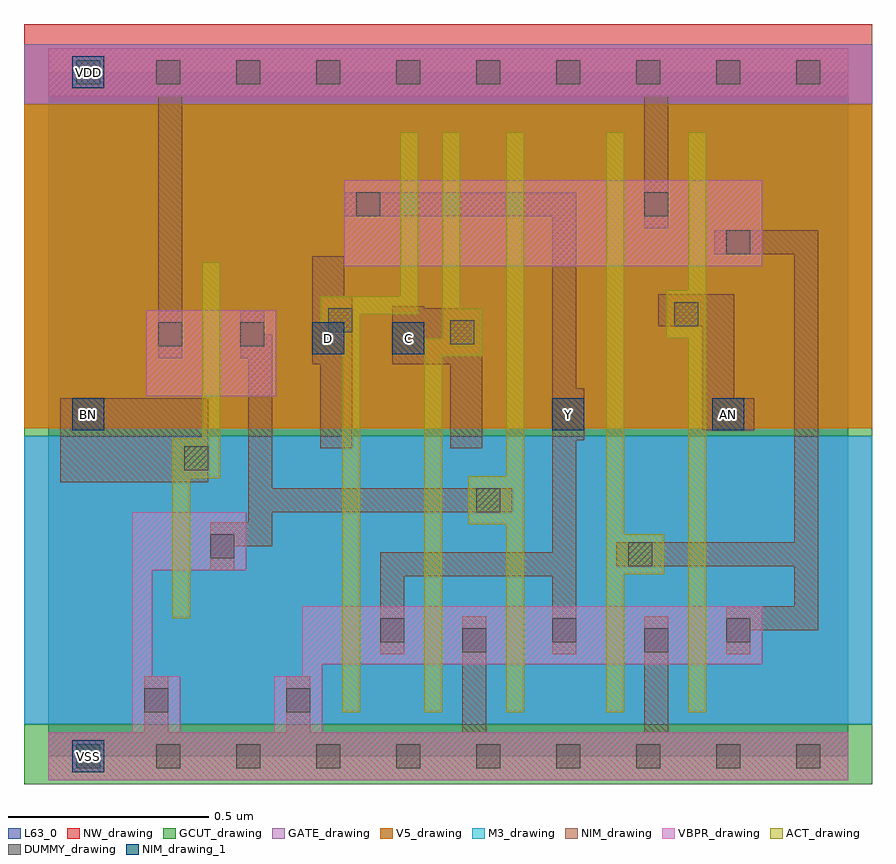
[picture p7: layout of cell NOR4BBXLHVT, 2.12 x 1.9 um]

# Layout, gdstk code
import gdstk
lib = gdstk.Library(unit=1e-6, precision=5e-10)
def R(c, l, rs):  # rectangles x0, y0, x1, y1
    for r in rs: c.add(gdstk.rectangle(r[:2], r[2:], *l))
def A(c, l, x, y, w, h, nx, ny, dx, dy):  # array of equal rectangles
    R(c, l, [(x+i*dx, y+j*dy, x+i*dx+w, y+j*dy+h) for i in range(nx) for j in range(ny)])
def P(c, l, *ps):  # polygons
    for p in ps: c.add(gdstk.Polygon(p, *l))
VBPR_drawing = (1, 0)
NW_drawing = (2, 0)
ACT_drawing = (3, 0)
GATE_drawing = (4, 0)
GCUT_drawing = (5, 0)
DUMMY_drawing = (6, 0)
NIM_drawing = (7, 0)
NIM_drawing_1 = (7, 1)
M3_drawing = (18, 0)
V5_drawing = (23, 0)
L63_0 = (63, 0)

nor4bbxlhvt = lib.new_cell('NOR4BBXLHVT')
R(nor4bbxlhvt, VBPR_drawing, [(0,-0.06,2,0.06), (0.245,0.9,0.57,1.115), (0.74,1.225,1.785,1.44), (0,1.65,2,1.77)])
P(nor4bbxlhvt, VBPR_drawing, [(1.785,0.375),(0.635,0.375),(0.635,0.2),(0.565,0.2),(0.565,0.06),(0.685,0.06),(0.685,0.23),(1.785,0.23)],
  [(0.495,0.61),(0.21,0.61),(0.21,0.06),(0.33,0.06),(0.33,0.2),(0.26,0.2),(0.26,0.465),(0.495,0.465)])
R(nor4bbxlhvt, NW_drawing, [(-0.06,0.82,2.06,1.83)])
P(nor4bbxlhvt, ACT_drawing, [(0.88,1.56),(0.925,1.56),(0.925,1.105),(0.78,1.105),(0.78,0.11),(0.735,0.11),(0.735,1.03),(0.68,1.03),(0.68,1.15),(0.88,1.15)],
  [(0.985,1.56),(1.03,1.56),(1.03,1.12),(1.085,1.12),(1.085,1),(0.985,1),(0.985,0.11),(0.94,0.11),(0.94,1.045),(0.985,1.045)],
  [(1.145,1.56),(1.19,1.56),(1.19,0.11),(1.145,0.11),(1.145,0.58),(1.05,0.58),(1.05,0.7),(1.145,0.7)],
  [(1.395,1.56),(1.44,1.56),(1.44,0.555),(1.54,0.555),(1.54,0.455),(1.44,0.455),(1.44,0.11),(1.395,0.11)],
  [(1.6,1.56),(1.645,1.56),(1.645,0.11),(1.6,0.11),(1.6,1.045),(1.545,1.045),(1.545,1.165),(1.6,1.165)],
  [(0.385,1.235),(0.43,1.235),(0.43,0.695),(0.355,0.695),(0.355,0.345),(0.31,0.345),(0.31,0.795),(0.385,0.795)])
R(nor4bbxlhvt, GATE_drawing, [(-0.06,0.08,2.06,0.8), (-0.06,1.63,2.06,1.78)])
R(nor4bbxlhvt, GCUT_drawing, [(-0.06,-0.07,2.06,0.08), (-0.06,0.8,2.06,1.63)])
A(nor4bbxlhvt, DUMMY_drawing, 0.07, -0.03, 0.06, 0.06, 10, 2, 0.2, 1.71)
R(nor4bbxlhvt, DUMMY_drawing, [(0.24,0.11,0.3,0.17), (0.595,0.11,0.655,0.17), (1.035,0.26,1.095,0.32), (1.49,0.26,1.55,0.32), (0.83,0.285,0.89,0.345), (1.26,0.285,1.32,0.345), (1.695,0.285,1.755,0.345), (1.45,0.475,1.51,0.535), (0.405,0.495,0.465,0.555), (1.07,0.61,1.13,0.67), (0.34,0.715,0.4,0.775), (0.275,1.025,0.335,1.085), (0.48,1.025,0.54,1.085), (1.005,1.03,1.065,1.09), (0.7,1.06,0.76,1.12), (1.565,1.075,1.625,1.135), (1.695,1.255,1.755,1.315), (0.77,1.35,0.83,1.41), (1.49,1.35,1.55,1.41)])
R(nor4bbxlhvt, NIM_drawing, [(0.24,0.06,0.3,0.2), (0.595,0.06,0.655,0.2), (1.035,0.06,1.095,0.35), (1.49,0.06,1.55,0.35), (0.03,0.685,0.4,0.895), (0.275,0.995,0.335,1.65), (1.49,1.32,1.55,1.65)])
P(nor4bbxlhvt, NIM_drawing, [(0.74,1.41),(1.32,1.41),(1.32,0.92),(1.34,0.92),(1.34,0.79),(1.32,0.79),(1.32,0.255),(1.26,0.255),(1.26,0.45),(0.89,0.45),(0.89,0.255),(0.83,0.255),(0.83,0.51),(1.26,0.51),(1.26,1.35),(0.74,1.35)],
  [(0.48,1.115),(0.54,1.115),(0.54,1.055),(0.56,1.055),(0.56,0.67),(1.16,0.67),(1.16,0.61),(0.56,0.61),(0.56,0.525),(0.465,0.525),(0.465,0.465),(0.405,0.465),(0.405,0.585),(0.5,0.585),(0.5,0.995),(0.48,0.995)],
  [(0.66,1.25),(0.74,1.25),(0.74,1.15),(0.76,1.15),(0.76,0.77),(0.68,0.77),(0.68,0.98),(0.66,0.98)],
  [(0.86,1.125),(0.94,1.125),(0.94,1.12),(1.085,1.12),(1.085,0.77),(1.005,0.77),(1.005,0.98),(0.86,0.98)],
  [(1.665,1.315),(1.925,1.315),(1.925,0.315),(1.755,0.315),(1.755,0.255),(1.695,0.255),(1.695,0.375),(1.865,0.375),(1.865,0.475),(1.42,0.475),(1.42,0.535),(1.865,0.535),(1.865,1.255),(1.665,1.255)],
  [(1.525,1.155),(1.715,1.155),(1.715,0.895),(1.765,0.895),(1.765,0.815),(1.635,0.815),(1.635,1.075),(1.525,1.075)])
A(nor4bbxlhvt, NIM_drawing_1, 0.06, -0.04, 0.08, 0.08, 1, 3, 0, 0.855)
R(nor4bbxlhvt, NIM_drawing_1, [(1.26,0.815,1.34,0.895), (1.66,0.815,1.74,0.895), (0.66,1.005,0.74,1.085), (0.86,1.005,0.94,1.085)])
R(nor4bbxlhvt, M3_drawing, [(-0.06,0.08,2.06,0.8)])
R(nor4bbxlhvt, V5_drawing, [(-0.06,0.82,2.06,1.63)])
R(nor4bbxlhvt, L63_0, [(0,0,2,1.71)])
nor4bbxlhvt.add(gdstk.FlexPath([(0,0),(2,0)], 0.12, ends="flush", simple_path=True, layer=7, datatype=0))  # NIM_drawing
nor4bbxlhvt.add(gdstk.FlexPath([(0,1.71),(2,1.71)], 0.12, ends="flush", simple_path=True, layer=7, datatype=0))  # NIM_drawing
nor4bbxlhvt.add(gdstk.Label('Y', (1.3,0.855), layer=7, texttype=1))
nor4bbxlhvt.add(gdstk.Label('D', (0.7,1.045), layer=7, texttype=1))
nor4bbxlhvt.add(gdstk.Label('C', (0.9,1.045), layer=7, texttype=1))
nor4bbxlhvt.add(gdstk.Label('AN', (1.7,0.855), layer=7, texttype=1))
nor4bbxlhvt.add(gdstk.Label('BN', (0.1,0.855), layer=7, texttype=1))
nor4bbxlhvt.add(gdstk.Label('VDD', (0.1,1.71), layer=7, texttype=1))
nor4bbxlhvt.add(gdstk.Label('VSS', (0.1,0), layer=7, texttype=1))
nor4bbxlhvt.add(gdstk.Label('VSS', (0.1,0), layer=7, texttype=1))
nor4bbxlhvt.add(gdstk.Label('VDD', (0.1,1.71), layer=7, texttype=1))
nor4bbxlhvt.add(gdstk.Label('BN', (0.1,0.855), layer=7, texttype=1))
nor4bbxlhvt.add(gdstk.Label('C', (0.9,1.045), layer=7, texttype=1))
nor4bbxlhvt.add(gdstk.Label('D', (0.7,1.045), layer=7, texttype=1))
nor4bbxlhvt.add(gdstk.Label('Y', (1.3,0.855), layer=7, texttype=1))
nor4bbxlhvt.add(gdstk.Label('AN', (1.7,0.855), layer=7, texttype=1))
nor4bbxlhvt.add(gdstk.Label('NOR4BBXL', (0,0), layer=63, texttype=0))

lib.write_gds('NOR4BBXLHVT.gds')
